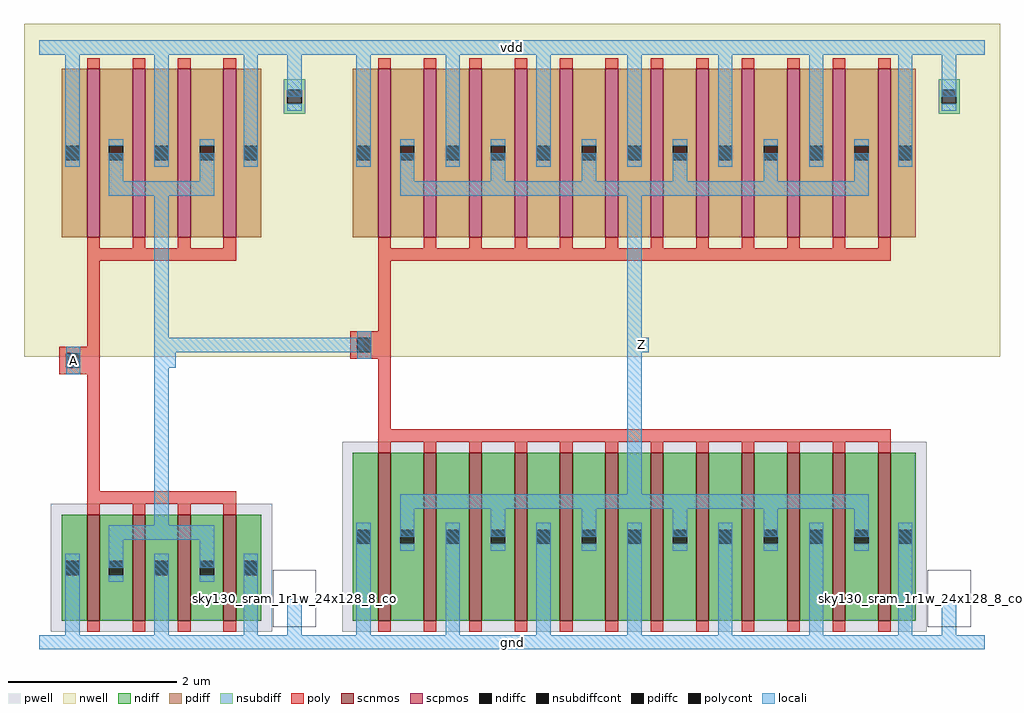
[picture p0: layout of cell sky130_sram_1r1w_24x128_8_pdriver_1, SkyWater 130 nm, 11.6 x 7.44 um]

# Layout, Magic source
magic
tech sky130B
magscale 1 2
<< nwell >>
rect -36 679 2284 1471
<< locali >>
rect 0 1397 2248 1431
rect 64 637 98 703
rect 291 690 773 724
rect 1415 690 1449 724
rect 291 670 325 690
rect 0 -17 2248 17
use sky130_sram_1r1w_24x128_8_pinv_10  sky130_sram_1r1w_24x128_8_pinv_10_0
transform 1 0 0 0 1 0
box -36 -17 728 1471
use sky130_sram_1r1w_24x128_8_pinv_11  sky130_sram_1r1w_24x128_8_pinv_11_0
transform 1 0 692 0 1 0
box -36 -17 1592 1471
<< labels >>
rlabel locali s 1432 707 1432 707 4 Z
port 1 nsew
rlabel locali s 81 670 81 670 4 A
port 2 nsew
rlabel locali s 1124 0 1124 0 4 gnd
port 3 nsew
rlabel locali s 1124 1414 1124 1414 4 vdd
port 4 nsew
<< properties >>
string FIXED_BBOX 0 0 2248 1414
<< end >>

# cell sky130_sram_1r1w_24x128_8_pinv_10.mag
magic
tech sky130B
magscale 1 2
<< nwell >>
rect -36 679 728 1471
<< poly >>
rect 114 703 144 907
rect 81 637 144 703
rect 114 359 144 637
<< locali >>
rect 0 1397 692 1431
rect 62 1130 96 1397
rect 274 1130 308 1397
rect 486 1130 520 1397
rect 590 1297 624 1397
rect 64 637 98 703
rect 274 687 308 1096
rect 274 653 325 687
rect 274 244 308 653
rect 62 17 96 144
rect 274 17 308 144
rect 486 17 520 144
rect 590 17 624 104
rect 0 -17 692 17
use sky130_sram_1r1w_24x128_8_contact_15  sky130_sram_1r1w_24x128_8_contact_15_0
transform 1 0 48 0 1 637
box 0 0 66 66
use sky130_sram_1r1w_24x128_8_contact_28  sky130_sram_1r1w_24x128_8_contact_28_0
transform 1 0 582 0 1 1256
box -59 -43 109 125
use sky130_sram_1r1w_24x128_8_contact_29  sky130_sram_1r1w_24x128_8_contact_29_0
transform 1 0 582 0 1 63
box -26 -26 76 108
use sky130_sram_1r1w_24x128_8_nmos_m4_w1_260_sli_dli_da_p  sky130_sram_1r1w_24x128_8_nmos_m4_w1_260_sli_dli_da_p_0
transform 1 0 54 0 1 51
box -26 -26 500 308
use sky130_sram_1r1w_24x128_8_pmos_m4_w2_000_sli_dli_da_p  sky130_sram_1r1w_24x128_8_pmos_m4_w2_000_sli_dli_da_p_0
transform 1 0 54 0 1 963
box -59 -56 533 454
<< labels >>
rlabel locali s 81 670 81 670 4 A
port 1 nsew
rlabel locali s 308 670 308 670 4 Z
port 2 nsew
rlabel locali s 346 0 346 0 4 gnd
port 3 nsew
rlabel locali s 346 1414 346 1414 4 vdd
port 4 nsew
<< properties >>
string FIXED_BBOX 0 0 692 1414
<< end >>

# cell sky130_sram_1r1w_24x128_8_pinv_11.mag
magic
tech sky130B
magscale 1 2
<< nwell >>
rect -36 679 1592 1471
<< poly >>
rect 114 740 144 907
rect 81 674 144 740
rect 114 507 144 674
<< locali >>
rect 0 1397 1556 1431
rect 62 1130 96 1397
rect 274 1130 308 1397
rect 490 1130 524 1397
rect 706 1130 740 1397
rect 922 1130 956 1397
rect 1138 1130 1172 1397
rect 1350 1130 1384 1397
rect 1454 1297 1488 1397
rect 64 674 98 740
rect 706 724 740 1096
rect 706 690 757 724
rect 706 318 740 690
rect 62 17 96 218
rect 274 17 308 218
rect 490 17 524 218
rect 706 17 740 218
rect 922 17 956 218
rect 1138 17 1172 218
rect 1350 17 1384 218
rect 1454 17 1488 104
rect 0 -17 1556 17
use sky130_sram_1r1w_24x128_8_contact_15  sky130_sram_1r1w_24x128_8_contact_15_0
transform 1 0 48 0 1 674
box 0 0 66 66
use sky130_sram_1r1w_24x128_8_contact_28  sky130_sram_1r1w_24x128_8_contact_28_0
transform 1 0 1446 0 1 1256
box -59 -43 109 125
use sky130_sram_1r1w_24x128_8_contact_29  sky130_sram_1r1w_24x128_8_contact_29_0
transform 1 0 1446 0 1 63
box -26 -26 76 108
use sky130_sram_1r1w_24x128_8_nmos_m12_w2_000_sli_dli_da_p  sky130_sram_1r1w_24x128_8_nmos_m12_w2_000_sli_dli_da_p_0
transform 1 0 54 0 1 51
box -26 -26 1364 456
use sky130_sram_1r1w_24x128_8_pmos_m12_w2_000_sli_dli_da_p  sky130_sram_1r1w_24x128_8_pmos_m12_w2_000_sli_dli_da_p_0
transform 1 0 54 0 1 963
box -59 -56 1397 454
<< labels >>
rlabel locali s 81 707 81 707 4 A
port 1 nsew
rlabel locali s 740 707 740 707 4 Z
port 2 nsew
rlabel locali s 778 0 778 0 4 gnd
port 3 nsew
rlabel locali s 778 1414 778 1414 4 vdd
port 4 nsew
<< properties >>
string FIXED_BBOX 0 0 1556 1414
<< end >>

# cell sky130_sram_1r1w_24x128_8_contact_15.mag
magic
tech sky130B
<< poly >>
rect 0 25 33 33
rect 0 8 8 25
rect 25 8 33 25
rect 0 0 33 8
<< polycont >>
rect 8 8 25 25
<< locali >>
rect 8 25 25 33
rect 8 0 25 8
<< properties >>
string FIXED_BBOX -10 -10 43 43
<< end >>

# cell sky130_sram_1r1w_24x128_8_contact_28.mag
magic
tech sky130B
magscale 1 2
<< nwell >>
rect -59 -43 109 125
<< nsubdiff >>
rect 0 58 50 82
rect 0 24 8 58
rect 42 24 50 58
rect 0 0 50 24
<< nsubdiffcont >>
rect 8 24 42 58
<< locali >>
rect 8 58 42 74
rect 8 8 42 24
<< properties >>
string FIXED_BBOX -59 -43 109 125
<< end >>

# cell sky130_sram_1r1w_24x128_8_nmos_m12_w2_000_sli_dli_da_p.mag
magic
tech sky130B
magscale 1 2
<< pwell >>
rect -26 -26 1364 426
<< scnmos >>
rect 60 0 90 400
rect 168 0 198 400
rect 276 0 306 400
rect 384 0 414 400
rect 492 0 522 400
rect 600 0 630 400
rect 708 0 738 400
rect 816 0 846 400
rect 924 0 954 400
rect 1032 0 1062 400
rect 1140 0 1170 400
rect 1248 0 1278 400
<< ndiff >>
rect 0 0 60 400
rect 90 0 168 400
rect 198 0 276 400
rect 306 0 384 400
rect 414 0 492 400
rect 522 0 600 400
rect 630 0 708 400
rect 738 0 816 400
rect 846 0 924 400
rect 954 0 1032 400
rect 1062 0 1140 400
rect 1170 0 1248 400
rect 1278 0 1338 400
<< poly >>
rect 60 426 1278 456
rect 60 400 90 426
rect 168 400 198 426
rect 276 400 306 426
rect 384 400 414 426
rect 492 400 522 426
rect 600 400 630 426
rect 708 400 738 426
rect 816 400 846 426
rect 924 400 954 426
rect 1032 400 1062 426
rect 1140 400 1170 426
rect 1248 400 1278 426
rect 60 -26 90 0
rect 168 -26 198 0
rect 276 -26 306 0
rect 384 -26 414 0
rect 492 -26 522 0
rect 600 -26 630 0
rect 708 -26 738 0
rect 816 -26 846 0
rect 924 -26 954 0
rect 1032 -26 1062 0
rect 1140 -26 1170 0
rect 1248 -26 1278 0
<< locali >>
rect 112 267 1226 301
rect 8 167 42 233
rect 112 200 146 267
rect 220 167 254 233
rect 328 200 362 267
rect 436 167 470 233
rect 544 200 578 267
rect 652 167 686 233
rect 760 200 794 267
rect 868 167 902 233
rect 976 200 1010 267
rect 1084 167 1118 233
rect 1192 200 1226 267
rect 1296 167 1330 233
use sky130_sram_1r1w_24x128_8_contact_10  sky130_sram_1r1w_24x128_8_contact_10_0
transform 1 0 1288 0 1 167
box -26 -22 76 88
use sky130_sram_1r1w_24x128_8_contact_10  sky130_sram_1r1w_24x128_8_contact_10_1
transform 1 0 1184 0 1 167
box -26 -22 76 88
use sky130_sram_1r1w_24x128_8_contact_10  sky130_sram_1r1w_24x128_8_contact_10_2
transform 1 0 1076 0 1 167
box -26 -22 76 88
use sky130_sram_1r1w_24x128_8_contact_10  sky130_sram_1r1w_24x128_8_contact_10_3
transform 1 0 968 0 1 167
box -26 -22 76 88
use sky130_sram_1r1w_24x128_8_contact_10  sky130_sram_1r1w_24x128_8_contact_10_4
transform 1 0 860 0 1 167
box -26 -22 76 88
use sky130_sram_1r1w_24x128_8_contact_10  sky130_sram_1r1w_24x128_8_contact_10_5
transform 1 0 752 0 1 167
box -26 -22 76 88
use sky130_sram_1r1w_24x128_8_contact_10  sky130_sram_1r1w_24x128_8_contact_10_6
transform 1 0 644 0 1 167
box -26 -22 76 88
use sky130_sram_1r1w_24x128_8_contact_10  sky130_sram_1r1w_24x128_8_contact_10_7
transform 1 0 536 0 1 167
box -26 -22 76 88
use sky130_sram_1r1w_24x128_8_contact_10  sky130_sram_1r1w_24x128_8_contact_10_8
transform 1 0 428 0 1 167
box -26 -22 76 88
use sky130_sram_1r1w_24x128_8_contact_10  sky130_sram_1r1w_24x128_8_contact_10_9
transform 1 0 320 0 1 167
box -26 -22 76 88
use sky130_sram_1r1w_24x128_8_contact_10  sky130_sram_1r1w_24x128_8_contact_10_10
transform 1 0 212 0 1 167
box -26 -22 76 88
use sky130_sram_1r1w_24x128_8_contact_10  sky130_sram_1r1w_24x128_8_contact_10_11
transform 1 0 104 0 1 167
box -26 -22 76 88
use sky130_sram_1r1w_24x128_8_contact_10  sky130_sram_1r1w_24x128_8_contact_10_12
transform 1 0 0 0 1 167
box -26 -22 76 88
<< labels >>
rlabel poly s 669 441 669 441 4 G
port 1 nsew
rlabel locali s 885 200 885 200 4 S
port 2 nsew
rlabel locali s 237 200 237 200 4 S
port 2 nsew
rlabel locali s 669 200 669 200 4 S
port 2 nsew
rlabel locali s 1313 200 1313 200 4 S
port 2 nsew
rlabel locali s 1101 200 1101 200 4 S
port 2 nsew
rlabel locali s 25 200 25 200 4 S
port 2 nsew
rlabel locali s 453 200 453 200 4 S
port 2 nsew
rlabel locali s 669 284 669 284 4 D
port 3 nsew
<< properties >>
string FIXED_BBOX -25 -26 1363 456
<< end >>

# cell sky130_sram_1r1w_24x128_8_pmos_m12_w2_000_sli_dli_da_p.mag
magic
tech sky130B
magscale 1 2
<< nwell >>
rect -54 -54 1392 454
<< scpmos >>
rect 60 0 90 400
rect 168 0 198 400
rect 276 0 306 400
rect 384 0 414 400
rect 492 0 522 400
rect 600 0 630 400
rect 708 0 738 400
rect 816 0 846 400
rect 924 0 954 400
rect 1032 0 1062 400
rect 1140 0 1170 400
rect 1248 0 1278 400
<< pdiff >>
rect 0 0 60 400
rect 90 0 168 400
rect 198 0 276 400
rect 306 0 384 400
rect 414 0 492 400
rect 522 0 600 400
rect 630 0 708 400
rect 738 0 816 400
rect 846 0 924 400
rect 954 0 1032 400
rect 1062 0 1140 400
rect 1170 0 1248 400
rect 1278 0 1338 400
<< poly >>
rect 60 400 90 426
rect 168 400 198 426
rect 276 400 306 426
rect 384 400 414 426
rect 492 400 522 426
rect 600 400 630 426
rect 708 400 738 426
rect 816 400 846 426
rect 924 400 954 426
rect 1032 400 1062 426
rect 1140 400 1170 426
rect 1248 400 1278 426
rect 60 -26 90 0
rect 168 -26 198 0
rect 276 -26 306 0
rect 384 -26 414 0
rect 492 -26 522 0
rect 600 -26 630 0
rect 708 -26 738 0
rect 816 -26 846 0
rect 924 -26 954 0
rect 1032 -26 1062 0
rect 1140 -26 1170 0
rect 1248 -26 1278 0
rect 60 -56 1278 -26
<< locali >>
rect 8 167 42 233
rect 112 133 146 200
rect 220 167 254 233
rect 328 133 362 200
rect 436 167 470 233
rect 544 133 578 200
rect 652 167 686 233
rect 760 133 794 200
rect 868 167 902 233
rect 976 133 1010 200
rect 1084 167 1118 233
rect 1192 133 1226 200
rect 1296 167 1330 233
rect 112 99 1226 133
use sky130_sram_1r1w_24x128_8_contact_11  sky130_sram_1r1w_24x128_8_contact_11_0
transform 1 0 1288 0 1 167
box -59 -51 109 117
use sky130_sram_1r1w_24x128_8_contact_11  sky130_sram_1r1w_24x128_8_contact_11_1
transform 1 0 1184 0 1 167
box -59 -51 109 117
use sky130_sram_1r1w_24x128_8_contact_11  sky130_sram_1r1w_24x128_8_contact_11_2
transform 1 0 1076 0 1 167
box -59 -51 109 117
use sky130_sram_1r1w_24x128_8_contact_11  sky130_sram_1r1w_24x128_8_contact_11_3
transform 1 0 968 0 1 167
box -59 -51 109 117
use sky130_sram_1r1w_24x128_8_contact_11  sky130_sram_1r1w_24x128_8_contact_11_4
transform 1 0 860 0 1 167
box -59 -51 109 117
use sky130_sram_1r1w_24x128_8_contact_11  sky130_sram_1r1w_24x128_8_contact_11_5
transform 1 0 752 0 1 167
box -59 -51 109 117
use sky130_sram_1r1w_24x128_8_contact_11  sky130_sram_1r1w_24x128_8_contact_11_6
transform 1 0 644 0 1 167
box -59 -51 109 117
use sky130_sram_1r1w_24x128_8_contact_11  sky130_sram_1r1w_24x128_8_contact_11_7
transform 1 0 536 0 1 167
box -59 -51 109 117
use sky130_sram_1r1w_24x128_8_contact_11  sky130_sram_1r1w_24x128_8_contact_11_8
transform 1 0 428 0 1 167
box -59 -51 109 117
use sky130_sram_1r1w_24x128_8_contact_11  sky130_sram_1r1w_24x128_8_contact_11_9
transform 1 0 320 0 1 167
box -59 -51 109 117
use sky130_sram_1r1w_24x128_8_contact_11  sky130_sram_1r1w_24x128_8_contact_11_10
transform 1 0 212 0 1 167
box -59 -51 109 117
use sky130_sram_1r1w_24x128_8_contact_11  sky130_sram_1r1w_24x128_8_contact_11_11
transform 1 0 104 0 1 167
box -59 -51 109 117
use sky130_sram_1r1w_24x128_8_contact_11  sky130_sram_1r1w_24x128_8_contact_11_12
transform 1 0 0 0 1 167
box -59 -51 109 117
<< labels >>
rlabel poly s 669 -41 669 -41 4 G
port 1 nsew
rlabel locali s 885 200 885 200 4 S
port 2 nsew
rlabel locali s 237 200 237 200 4 S
port 2 nsew
rlabel locali s 669 200 669 200 4 S
port 2 nsew
rlabel locali s 1313 200 1313 200 4 S
port 2 nsew
rlabel locali s 1101 200 1101 200 4 S
port 2 nsew
rlabel locali s 25 200 25 200 4 S
port 2 nsew
rlabel locali s 453 200 453 200 4 S
port 2 nsew
rlabel locali s 669 116 669 116 4 D
port 3 nsew
<< properties >>
string FIXED_BBOX -54 -56 1392 454
<< end >>

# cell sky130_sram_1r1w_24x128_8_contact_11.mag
magic
tech sky130B
magscale 1 2
<< nwell >>
rect -59 -51 109 117
<< pdiff >>
rect 0 50 50 62
rect 0 16 8 50
rect 42 16 50 50
rect 0 4 50 16
<< pdiffc >>
rect 8 16 42 50
<< locali >>
rect 8 50 42 66
rect 8 0 42 16
<< properties >>
string FIXED_BBOX -59 -51 109 117
<< end >>

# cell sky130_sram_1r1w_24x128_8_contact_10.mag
magic
tech sky130B
<< pwell >>
rect -13 -11 38 44
<< ndiff >>
rect 0 25 25 31
rect 0 8 4 25
rect 21 8 25 25
rect 0 2 25 8
<< ndiffc >>
rect 4 8 21 25
<< locali >>
rect 4 25 21 33
rect 4 0 21 8
<< properties >>
string FIXED_BBOX -12 -10 37 43
<< end >>

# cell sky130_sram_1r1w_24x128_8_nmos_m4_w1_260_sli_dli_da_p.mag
magic
tech sky130B
magscale 1 2
<< pwell >>
rect -26 -26 500 278
<< scnmos >>
rect 60 0 90 252
rect 168 0 198 252
rect 276 0 306 252
rect 384 0 414 252
<< ndiff >>
rect 0 0 60 252
rect 90 0 168 252
rect 198 0 276 252
rect 306 0 384 252
rect 414 0 474 252
<< poly >>
rect 60 278 414 308
rect 60 252 90 278
rect 168 252 198 278
rect 276 252 306 278
rect 384 252 414 278
rect 60 -26 90 0
rect 168 -26 198 0
rect 276 -26 306 0
rect 384 -26 414 0
<< locali >>
rect 112 193 362 227
rect 8 93 42 159
rect 112 126 146 193
rect 220 93 254 159
rect 328 126 362 193
rect 432 93 466 159
use sky130_sram_1r1w_24x128_8_contact_10  sky130_sram_1r1w_24x128_8_contact_10_0
transform 1 0 424 0 1 93
box -26 -22 76 88
use sky130_sram_1r1w_24x128_8_contact_10  sky130_sram_1r1w_24x128_8_contact_10_1
transform 1 0 320 0 1 93
box -26 -22 76 88
use sky130_sram_1r1w_24x128_8_contact_10  sky130_sram_1r1w_24x128_8_contact_10_2
transform 1 0 212 0 1 93
box -26 -22 76 88
use sky130_sram_1r1w_24x128_8_contact_10  sky130_sram_1r1w_24x128_8_contact_10_3
transform 1 0 104 0 1 93
box -26 -22 76 88
use sky130_sram_1r1w_24x128_8_contact_10  sky130_sram_1r1w_24x128_8_contact_10_4
transform 1 0 0 0 1 93
box -26 -22 76 88
<< labels >>
rlabel poly s 237 293 237 293 4 G
port 1 nsew
rlabel locali s 237 126 237 126 4 S
port 2 nsew
rlabel locali s 449 126 449 126 4 S
port 2 nsew
rlabel locali s 25 126 25 126 4 S
port 2 nsew
rlabel locali s 237 210 237 210 4 D
port 3 nsew
<< properties >>
string FIXED_BBOX -25 -26 499 308
<< end >>

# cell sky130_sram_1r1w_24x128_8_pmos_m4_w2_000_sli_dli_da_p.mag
magic
tech sky130B
magscale 1 2
<< nwell >>
rect -54 -54 528 454
<< scpmos >>
rect 60 0 90 400
rect 168 0 198 400
rect 276 0 306 400
rect 384 0 414 400
<< pdiff >>
rect 0 0 60 400
rect 90 0 168 400
rect 198 0 276 400
rect 306 0 384 400
rect 414 0 474 400
<< poly >>
rect 60 400 90 426
rect 168 400 198 426
rect 276 400 306 426
rect 384 400 414 426
rect 60 -26 90 0
rect 168 -26 198 0
rect 276 -26 306 0
rect 384 -26 414 0
rect 60 -56 414 -26
<< locali >>
rect 8 167 42 233
rect 112 133 146 200
rect 220 167 254 233
rect 328 133 362 200
rect 432 167 466 233
rect 112 99 362 133
use sky130_sram_1r1w_24x128_8_contact_11  sky130_sram_1r1w_24x128_8_contact_11_0
transform 1 0 424 0 1 167
box -59 -51 109 117
use sky130_sram_1r1w_24x128_8_contact_11  sky130_sram_1r1w_24x128_8_contact_11_1
transform 1 0 320 0 1 167
box -59 -51 109 117
use sky130_sram_1r1w_24x128_8_contact_11  sky130_sram_1r1w_24x128_8_contact_11_2
transform 1 0 212 0 1 167
box -59 -51 109 117
use sky130_sram_1r1w_24x128_8_contact_11  sky130_sram_1r1w_24x128_8_contact_11_3
transform 1 0 104 0 1 167
box -59 -51 109 117
use sky130_sram_1r1w_24x128_8_contact_11  sky130_sram_1r1w_24x128_8_contact_11_4
transform 1 0 0 0 1 167
box -59 -51 109 117
<< labels >>
rlabel poly s 237 -41 237 -41 4 G
port 1 nsew
rlabel locali s 25 200 25 200 4 S
port 2 nsew
rlabel locali s 449 200 449 200 4 S
port 2 nsew
rlabel locali s 237 200 237 200 4 S
port 2 nsew
rlabel locali s 237 116 237 116 4 D
port 3 nsew
<< properties >>
string FIXED_BBOX -54 -56 528 454
<< end >>
